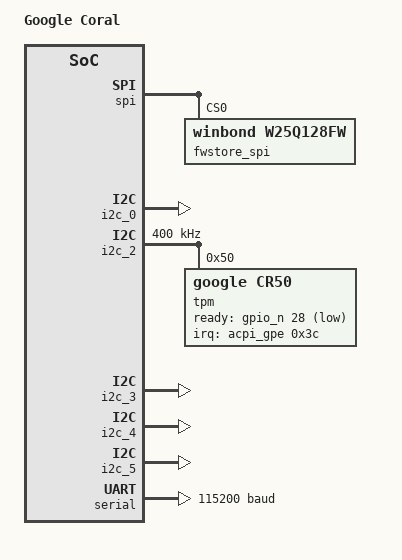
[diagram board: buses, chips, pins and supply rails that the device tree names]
/* SPDX-License-Identifier: GPL-2.0 */
/dts-v1/;

#include <dt-bindings/gpio/x86-gpio.h>

/include/ "skeleton.dtsi"
/include/ "keyboard.dtsi"
/include/ "reset.dtsi"
/include/ "rtc.dtsi"
/include/ "tsc_timer.dtsi"

#ifdef CONFIG_CHROMEOS
#include "chromeos-x86.dtsi"
#include "flashmap-x86-ro.dtsi"
#include "flashmap-16mb-rw.dtsi"
#endif

#include <asm/intel_pinctrl_defs.h>
#include <asm/arch-apollolake/cpu.h>
#include <asm/arch-apollolake/gpio.h>
#include <asm/arch-apollolake/iomap.h>
#include <asm/arch-apollolake/pm.h>
#include <dt-bindings/clock/intel-clock.h>

/ {
	model = "Google Coral";
	compatible = "google,coral", "intel,apollolake";

	aliases {
		cros-ec0 = &cros_ec;
		fsp = &fsp_s;
		spi0 = &spi;
		i2c0 = &i2c_0;
		i2c1 = &i2c_1;
		i2c2 = &i2c_2;
		i2c3 = &i2c_3;
		i2c4 = &i2c_4;
		i2c5 = &i2c_5;
		i2c6 = &i2c_6;
		i2c7 = &i2c_7;
	};

	config {
	       silent_console = <0>;
	};

	chosen {
		stdout-path = &serial;
	};

	clk: clock {
		compatible = "intel,apl-clk";
		#clock-cells = <1>;
	};

	cpus {
		u-boot,dm-pre-reloc;
		#address-cells = <1>;
		#size-cells = <0>;

		cpu@0 {
			u-boot,dm-pre-reloc;
			device_type = "cpu";
			compatible = "intel,apl-cpu";
			reg = <0>;
			intel,apic-id = <0>;
		};

		cpu@1 {
			device_type = "cpu";
			compatible = "intel,apl-cpu";
			reg = <1>;
			intel,apic-id = <2>;
		};

		cpu@2 {
			device_type = "cpu";
			compatible = "intel,apl-cpu";
			reg = <2>;
			intel,apic-id = <4>;
		};

		cpu@3 {
			device_type = "cpu";
			compatible = "intel,apl-cpu";
			reg = <3>;
			intel,apic-id = <6>;
		};

	};

	acpi_gpe: general-purpose-events {
		reg = <IOMAP_ACPI_BASE IOMAP_ACPI_SIZE>;
		compatible = "intel,acpi-gpe";
		interrupt-controller;
		#interrupt-cells = <2>;
	};

	keyboard {
		intel,duplicate-por;
	};

	pci {
		compatible = "pci-x86";
		#address-cells = <3>;
		#size-cells = <2>;
		u-boot,dm-pre-reloc;
		ranges = <0x02000000 0x0 0xc0000000 0xc0000000 0 0x10000000
			0x42000000 0x0 0xb0000000 0xb0000000 0 0x10000000
			0x01000000 0x0 0x1000 0x1000 0 0xefff>;
		u-boot,skip-auto-config-until-reloc;

		host_bridge: host-bridge@0,0 {
			u-boot,dm-pre-reloc;
			reg = <0x00000000 0 0 0 0>;
			compatible = "intel,apl-hostbridge";
			pciex-region-size = <0x10000000>;
			/*
			 * Parameters used by the FSP-S binary blob. This is
			 * really unfortunate since these parameters mostly
			 * relate to drivers but we need them in one place. We
			 * could put them in the driver nodes easily, but then
			 * would have to scan each node to find them. So just
			 * dump them here for now.
			 */
			fsp_s: fsp-s {
			};
		};

		punit@0,1 {
			u-boot,dm-pre-reloc;
			reg = <0x00000800 0 0 0 0>;
			compatible = "intel,apl-punit";
		};

		p2sb: p2sb@d,0 {
			u-boot,dm-pre-reloc;
			reg = <0x02006810 0 0 0 0>;
			compatible = "intel,p2sb";
			early-regs = <IOMAP_P2SB_BAR 0x100000>;

			n {
				compatible = "intel,apl-pinctrl";
				u-boot,dm-pre-reloc;
				intel,p2sb-port-id = <PID_GPIO_N>;
				gpio_n: gpio-n {
					compatible = "intel,gpio";
					u-boot,dm-pre-reloc;
					gpio-controller;
					#gpio-cells = <2>;
				};
			};

			nw {
				u-boot,dm-pre-reloc;
				compatible = "intel,apl-pinctrl";
				intel,p2sb-port-id = <PID_GPIO_NW>;
				#gpio-cells = <2>;
				gpio_nw: gpio-nw {
					compatible = "intel,gpio";
					u-boot,dm-pre-reloc;
					gpio-controller;
					#gpio-cells = <2>;
				};
			};

			w {
				u-boot,dm-pre-reloc;
				compatible = "intel,apl-pinctrl";
				intel,p2sb-port-id = <PID_GPIO_W>;
				#gpio-cells = <2>;
				gpio_w: gpio-w {
					compatible = "intel,gpio";
					u-boot,dm-pre-reloc;
					gpio-controller;
					#gpio-cells = <2>;
				};
			};

			sw {
				u-boot,dm-pre-reloc;
				compatible = "intel,apl-pinctrl";
				intel,p2sb-port-id = <PID_GPIO_SW>;
				#gpio-cells = <2>;
				gpio_sw: gpio-sw {
					compatible = "intel,gpio";
					u-boot,dm-pre-reloc;
					gpio-controller;
					#gpio-cells = <2>;
				};
			};

			itss {
				u-boot,dm-pre-reloc;
				compatible = "intel,itss";
				intel,p2sb-port-id = <PID_ITSS>;
				intel,pmc-routes = <
					PMC_GPE_SW_31_0 GPIO_GPE_SW_31_0
					PMC_GPE_SW_63_32 GPIO_GPE_SW_63_32
					PMC_GPE_NW_31_0 GPIO_GPE_NW_31_0
					PMC_GPE_NW_63_32 GPIO_GPE_NW_63_32
					PMC_GPE_NW_95_64 GPIO_GPE_NW_95_64
					PMC_GPE_N_31_0 GPIO_GPE_N_31_0
					PMC_GPE_N_63_32 GPIO_GPE_N_63_32
					PMC_GPE_W_31_0 GPIO_GPE_W_31_0>;
			};
		};

		pmc@d,1 {
			u-boot,dm-pre-reloc;
			reg = <0x6900 0 0 0 0>;

			/*
			 * Values for BAR0, BAR2 and ACPI_BASE for when PCI
			 * auto-configure is not available
			 */
			early-regs = <0xfe042000 0x2000
				0xfe044000 0x2000
				IOMAP_ACPI_BASE IOMAP_ACPI_SIZE>;
			compatible = "intel,apl-pmc";
			gpe0-dwx-mask = <0xf>;
			gpe0-dwx-shift-base = <4>;

			/*
			 * GPE configuration
			 * Note that GPE events called out in ASL code rely on
			 * this route, i.e., if this route changes then the
			 * affected GPE * offset bits also need to be changed.
			 * This sets the PMC register GPE_CFG fields.
			 */
			gpe0-dw = <PMC_GPE_N_31_0
				PMC_GPE_N_63_32
				PMC_GPE_SW_31_0>;
			gpe0-sts = <0x20>;
			gpe0-en = <0x30>;
		};

		spi: fast-spi@d,2 {
			u-boot,dm-pre-reloc;
			reg = <0x02006a10 0 0 0 0>;
			#address-cells = <1>;
			#size-cells = <0>;
			compatible = "intel,fast-spi";
			early-regs = <IOMAP_SPI_BASE 0x1000>;
			intel,hardware-seq = <1>;

			fwstore_spi: spi-flash@0 {
				#size-cells = <1>;
				#address-cells = <1>;
				u-boot,dm-pre-reloc;
				reg = <0>;
				compatible = "winbond,w25q128fw",
					 "jedec,spi-nor";
				rw-mrc-cache {
					label = "rw-mrc-cache";
					reg = <0x008e0000 0x00010000>;
					u-boot,dm-pre-reloc;
				};
				rw-var-mrc-cache {
					label = "rw-mrc-cache";
					reg = <0x008f0000 0x0001000>;
					u-boot,dm-pre-reloc;
				};
			};
		};

		i2c_0: i2c2@16,0 {
			compatible = "intel,apl-i2c";
			reg = <0x0200b010 0 0 0 0>;
			clocks = <&clk CLK_I2C>;
			i2c-scl-rising-time-ns = <104>;
			i2c-scl-falling-time-ns = <52>;
		};

		i2c_1: i2c2@16,1 {
			compatible = "intel,apl-i2c";
			reg = <0x0200b110 0 0 0 0>;
			clocks = <&clk CLK_I2C>;
			status = "disabled";
		};

		i2c_2: i2c2@16,2 {
			compatible = "intel,apl-i2c";
			reg = <0x0200b210 0 0 0 0>;
			#address-cells = <1>;
			#size-cells = <0>;
			clock-frequency = <400000>;
			clocks = <&clk CLK_I2C>;
			i2c-scl-rising-time-ns = <57>;
			i2c-scl-falling-time-ns = <28>;
			tpm@50 {
				reg = <0x50>;
				compatible = "google,cr50";
				u-boot,i2c-offset-len = <0>;
				ready-gpio = <&gpio_n 28 GPIO_ACTIVE_LOW>;
				interrupts-extended = <&acpi_gpe 0x3c 0>;
			};
		};

		i2c_3: i2c2@16,3 {
			compatible = "intel,apl-i2c";
			reg = <0x0200b110 0 0 0 0>;
			clocks = <&clk CLK_I2C>;
			i2c-scl-rising-time-ns = <76>;
			i2c-scl-falling-time-ns = <164>;
		};

		i2c_4: i2c2@17,0 {
			compatible = "intel,apl-i2c";
			reg = <0x0200b110 0 0 0 0>;
			clocks = <&clk CLK_I2C>;
			i2c-sda-hold-time-ns = <350>;
			i2c-scl-rising-time-ns = <114>;
			i2c-scl-falling-time-ns = <164>;
		};

		i2c_5: i2c2@17,1 {
			compatible = "intel,apl-i2c";
			reg = <0x0200b110 0 0 0 0>;
			clocks = <&clk CLK_I2C>;
			i2c-scl-rising-time-ns = <76>;
			i2c-scl-falling-time-ns = <164>;
		};

		i2c_6: i2c2@17,2 {
			compatible = "intel,apl-i2c";
			reg = <0x0200b110 0 0 0 0>;
			clocks = <&clk CLK_I2C>;
			status = "disabled";
		};

		i2c_7: i2c2@17,3 {
			compatible = "intel,apl-i2c";
			reg = <0x0200b110 0 0 0 0>;
			clocks = <&clk CLK_I2C>;
			status = "disabled";
		};

		serial: serial@18,2 {
			reg = <0x0200c210 0 0 0 0>;
			u-boot,dm-pre-reloc;
			compatible = "intel,apl-ns16550";
			early-regs = <0xde000000 0x20>;
			reg-shift = <2>;
			clock-frequency = <1843200>;
			current-speed = <115200>;
		};

		pch: pch@1f,0 {
			reg = <0x0000f800 0 0 0 0>;
			compatible = "intel,apl-pch";
			u-boot,dm-pre-reloc;
			#address-cells = <1>;
			#size-cells = <1>;

			lpc {
				compatible = "intel,apl-lpc";
				#address-cells = <1>;
				#size-cells = <0>;
				u-boot,dm-pre-reloc;
				cros_ec: cros-ec {
					u-boot,dm-pre-reloc;
					compatible = "google,cros-ec-lpc";
					reg = <0x204 1 0x200 1 0x880 0x80>;

					/*
					 * Describes the flash memory within
					 * the EC
					 */
					#address-cells = <1>;
					#size-cells = <1>;
					flash@8000000 {
						reg = <0x08000000 0x20000>;
						erase-value = <0xff>;
					};
				};
			};
		};
	};

};

&host_bridge {
	/*
	 * PL1 override 12000 mW: the energy calculation is wrong with the
	 * current VR solution. Experiments show that SoC TDP max (6W) can be
	 * reached when RAPL PL1 is set to 12W. Set RAPL PL2 to 15W.
	 */
	tdp-pl-override-mw = <12000 15000>;

	early-pads = <
		/* These two are for the debug UART */
		GPIO_46 /* UART2 RX */
			(PAD_CFG0_MODE_NF1 | PAD_CFG0_LOGICAL_RESET_DEEP)
			(PAD_CFG1_PULL_NATIVE | PAD_CFG1_IOSSTATE_TX_LAST_RXE)

		GPIO_47 /* UART2 TX */
			(PAD_CFG0_MODE_NF1 | PAD_CFG0_LOGICAL_RESET_DEEP)
			(PAD_CFG1_PULL_NATIVE | PAD_CFG1_IOSSTATE_TX_LAST_RXE)

		GPIO_75 /* I2S1_BCLK -- PCH_WP */
			(PAD_CFG0_MODE_GPIO | PAD_CFG0_LOGICAL_RESET_DEEP)
			(PAD_CFG1_PULL_UP_20K | PAD_CFG1_IOSSTATE_TXD_RXE)

		/* I2C2 - TPM  */
		GPIO_128 /* LPSS_I2C2_SDA */
			(PAD_CFG0_MODE_NF1 | PAD_CFG0_LOGICAL_RESET_DEEP)
			(PAD_CFG1_PULL_UP_2K | PAD_CFG1_IOSSTATE_TX_LAST_RXE)
		GPIO_129 /* LPSS_I2C2_SCL */
			(PAD_CFG0_MODE_NF1 | PAD_CFG0_LOGICAL_RESET_DEEP)
			(PAD_CFG1_PULL_UP_2K | PAD_CFG1_IOSSTATE_TX_LAST_RXE)
		GPIO_28 /* TPM IRQ */
			(PAD_CFG0_MODE_GPIO | PAD_CFG0_LOGICAL_RESET_DEEP |
				PAD_CFG0_TX_DISABLE | PAD_CFG0_ROUTE_IOAPIC |
				PAD_CFG0_TRIG_LEVEL | PAD_CFG0_RX_POL_INVERT)
			(PAD_CFG1_PULL_NONE | PAD_CFG1_IOSSTATE_TXD_RXE)

		/*
		 * WLAN_PE_RST - default to deasserted just in case FSP
		 * misbehaves
		 */
		GPIO_122  /* SIO_SPI_2_RXD */
			(PAD_CFG0_MODE_GPIO | PAD_CFG0_LOGICAL_RESET_DEEP |
				PAD_CFG0_RX_DISABLE | 0)
			(PAD_CFG1_PULL_NONE | PAD_CFG1_IOSSTATE_TX_LAST_RXE)

		/* LPC */
		PAD_CFG_NF(LPC_ILB_SERIRQ, UP_20K, DEEP, NF1) /* LPC_SERIRQ */
		PAD_CFG_NF(LPC_CLKOUT0, NONE, DEEP, NF1) /* LPC_CLKOUT0 */
		PAD_CFG_NF(LPC_CLKOUT1, UP_20K, DEEP, NF1)
		PAD_CFG_NF(LPC_AD0, UP_20K, DEEP, NF1)	 /* LPC_AD0 */
		PAD_CFG_NF(LPC_AD1, UP_20K, DEEP, NF1)	 /* LPC_AD1 */
		PAD_CFG_NF(LPC_AD2, UP_20K, DEEP, NF1)	 /* LPC_AD2 */
		PAD_CFG_NF(LPC_AD3, UP_20K, DEEP, NF1)	 /* LPC_AD3 */
		PAD_CFG_NF(LPC_CLKRUNB, UP_20K, DEEP, NF1) /* LPC_CLKRUN_N */
		PAD_CFG_NF(LPC_FRAMEB, NATIVE, DEEP, NF1) /* LPC_FRAME_N */
		>;

	lpddr4-swizzle = /bits/ 8 <
		/* LP4_PHYS_CH0A */

		/* DQA[0:7] pins of LPDDR4 module */
		6 7 5 4 3 1 0 2
		/* DQA[8:15] pins of LPDDR4 module */
		12 10 11 13 14 8 9 15
		/* DQB[0:7] pins of LPDDR4 module with offset of 16 */
		16 22 23 20 18 17 19 21
		/* DQB[7:15] pins of LPDDR4 module with offset of 16 */
		30 28 29 25 24 26 27 31

		/* LP4_PHYS_CH0B */
		/* DQA[0:7] pins of LPDDR4 module */
		7 3 5 2 6 0 1 4
		/* DQA[8:15] pins of LPDDR4 module */
		 9 14 12 13 10 11 8 15
		/* DQB[0:7] pins of LPDDR4 module with offset of 16 */
		20 22 23 16 19 17 18 21
		/* DQB[7:15] pins of LPDDR4 module with offset of 16 */
		28 24 26 27 29 30 31 25

		/* LP4_PHYS_CH1A */

		/* DQA[0:7] pins of LPDDR4 module */
		2 1 6 7 5 4 3 0
		/* DQA[8:15] pins of LPDDR4 module */
		11 10 8 9 12 15 13 14
		/* DQB[0:7] pins of LPDDR4 module with offset of 16 */
		17 23 19 16 21 22 20 18
		/* DQB[7:15] pins of LPDDR4 module with offset of 16 */
		31 29 26 25 28 27 24 30

		/* LP4_PHYS_CH1B */

		/* DQA[0:7] pins of LPDDR4 module */
		4 3 7 5 6 1 0 2
		/* DQA[8:15] pins of LPDDR4 module */
		15 9 8 11 14 13 12 10
		/* DQB[0:7] pins of LPDDR4 module with offset of 16 */
		20 23 22 21 18 19 16 17
		/* DQB[7:15] pins of LPDDR4 module with offset of 16 */
		25 28 30 31 26 27 24 29>;
};

&fsp_s {
	u-boot,dm-pre-proper;

	/* Disable unused clkreq of PCIe root ports */
	pcie-rp-clkreq-pin = /bits/ 8 <0 /* wifi/bt */
		CLKREQ_DISABLED
		CLKREQ_DISABLED
		CLKREQ_DISABLED
		CLKREQ_DISABLED
		CLKREQ_DISABLED>;

	/*
	 * GPIO for PERST_0
	 * If the Board has PERST_0 signal, assign the GPIO
	 * If the Board does not have PERST_0, assign GPIO_PRT0_UDEF
	 *
	 * This are not used yet, so comment them out for now.
	 *
	 * prt0-gpio = <GPIO_122>;
	 *
	 * GPIO for SD card detect
	 * sdcard-cd-gpio = <GPIO_177>;
	 */

	/*
	 * Order is emmc-tx-data-cntl1, emmc-tx-data-cntl2,
	 * emmc-rx-cmd-data-cntl1, emmc-rx-cmd-data-cntl2
	 *
	 * EMMC TX DATA Delay 1
	 * Refer to EDS-Vol2-22.3
	 * [14:8] steps of delay for HS400, each 125ps
	 * [6:0] steps of delay for SDR104/HS200, each 125ps

	/*
	 * EMMC TX DATA Delay 2
	 * Refer to EDS-Vol2-22.3.
	 * [30:24] steps of delay for SDR50, each 125ps
	 * [22:16] steps of delay for DDR50, each 125ps
	 * [14:8] steps of delay for SDR25/HS50, each 125ps
	 * [6:0] steps of delay for SDR12, each 125ps
	 */

	/*
	 * EMMC RX CMD/DATA Delay 1
	 * Refer to EDS-Vol2-22.3.
	 * [30:24] steps of delay for SDR50, each 125ps
	 * [22:16] steps of delay for DDR50, each 125ps
	 * [14:8] steps of delay for SDR25/HS50, each 125ps
	 * [6:0] steps of delay for SDR12, each 125ps
	 */

	/*
	 * EMMC RX CMD/DATA Delay 2
	 * Refer to EDS-Vol2-22.3.
	 * [17:16] stands for Rx Clock before Output Buffer
	 * [14:8] steps of delay for Auto Tuning Mode, each 125ps
	 * [6:0] steps of delay for HS200, each 125ps
	 */
	emmc = <0x0c16 0x28162828 0x00181717 0x10008>;

	/* Enable DPTF */
	dptf-enable;

	/* Enable Audio Clock and Power gating */
	hdaudio-clk-gate-enable;
	hdaudio-pwr-gate-enable;
	hdaudio-bios-config-lockdown;

	/* Enable lpss s0ix */
	lpss-s0ix-enable;

	/*
	 * TODO(sjg@chromium.org): Move this to the I2C nodes
	 * Intel Common SoC Config
	 *+-------------------+---------------------------+
	 *| Field             |  Value                    |
	 *+-------------------+---------------------------+
	 *| I2C0              | Audio                     |
	 *| I2C2              | TPM                       |
	 *| I2C3              | Touchscreen               |
	 *| I2C4              | Trackpad                  |
	 *| I2C5              | Digitizer                 |
	 *+-------------------+---------------------------+
	 *
	common_soc_config" = "{
		.i2c[0] = {
			.speed = I2C_SPEED_FAST,
			.rise-time-ns = 104,
			.fall-time-ns = 52,
		},
		.i2c[2] = {
			.early_init = 1,
			.speed = I2C_SPEED_FAST,
			.rise-time-ns = 57,
			.fall-time-ns = 28,
		},
		.i2c[3] = {
			.speed = I2C_SPEED_FAST,
			.rise-time-ns = 76,
			.fall-time-ns = 164,
		},
		.i2c[4] = {
			.speed = I2C_SPEED_FAST,
			.rise-time-ns = 114,
			.fall-time-ns = 164,
			.data_hold_time_ns = 350,
		},
		.i2c[5] = {
			.speed = I2C_SPEED_FAST,
			.rise-time-ns = 152,
			.fall-time-ns = 30,
		},
	}"
	*/

	/* Minimum SLP S3 assertion width 28ms */
	slp-s3-assertion-width-usecs = <28000>;

	pads = <
		/* PCIE_WAKE[0:3]_N */
		PAD_CFG_GPI_SCI_LOW(GPIO_205, UP_20K, DEEP, EDGE_SINGLE) /* WLAN */
		PAD_CFG_GPI(GPIO_206, UP_20K, DEEP)	 /* Unused */
		PAD_CFG_GPI(GPIO_207, UP_20K, DEEP)	 /* Unused */
		PAD_CFG_GPI(GPIO_208, UP_20K, DEEP)	 /* Unused */

		/* EMMC interface */
		PAD_CFG_NF(GPIO_156, DN_20K, DEEP, NF1) /* EMMC_CLK */
		PAD_CFG_NF_IOSSTATE_IOSTERM(GPIO_157, UP_20K, DEEP, NF1, HIZCRX1, DISPUPD) /* EMMC_D0 */
		PAD_CFG_NF_IOSSTATE_IOSTERM(GPIO_158, UP_20K, DEEP, NF1, HIZCRX1, DISPUPD) /* EMMC_D1 */
		PAD_CFG_NF_IOSSTATE_IOSTERM(GPIO_159, UP_20K, DEEP, NF1, HIZCRX1, DISPUPD) /* EMMC_D2 */
		PAD_CFG_NF_IOSSTATE_IOSTERM(GPIO_160, UP_20K, DEEP, NF1, HIZCRX1, DISPUPD) /* EMMC_D3 */
		PAD_CFG_NF_IOSSTATE_IOSTERM(GPIO_161, UP_20K, DEEP, NF1, HIZCRX1, DISPUPD) /* EMMC_D4 */
		PAD_CFG_NF_IOSSTATE_IOSTERM(GPIO_162, UP_20K, DEEP, NF1, HIZCRX1, DISPUPD) /* EMMC_D5 */
		PAD_CFG_NF_IOSSTATE_IOSTERM(GPIO_163, UP_20K, DEEP, NF1, HIZCRX1, DISPUPD) /* EMMC_D6 */
		PAD_CFG_NF_IOSSTATE_IOSTERM(GPIO_164, UP_20K, DEEP, NF1, HIZCRX1, DISPUPD) /* EMMC_D7 */
		PAD_CFG_NF_IOSSTATE_IOSTERM(GPIO_165, UP_20K, DEEP, NF1, HIZCRX1, DISPUPD) /* EMMC_CMD */
		PAD_CFG_NF(GPIO_182, DN_20K, DEEP, NF1) /* EMMC_RCLK */

		/* SDIO -- unused */
		PAD_CFG_GPI(GPIO_166, UP_20K, DEEP)	 /* SDIO_CLK */
		PAD_CFG_GPI(GPIO_167, UP_20K, DEEP)	 /* SDIO_D0 */
		/* Configure SDIO to enable power gating */
		PAD_CFG_NF(GPIO_168, UP_20K, DEEP, NF1)	/* SDIO_D1 */
		PAD_CFG_GPI(GPIO_169, UP_20K, DEEP)	 /* SDIO_D2 */
		PAD_CFG_GPI(GPIO_170, UP_20K, DEEP)	 /* SDIO_D3 */
		PAD_CFG_GPI(GPIO_171, UP_20K, DEEP)	 /* SDIO_CMD */

		/* SDCARD */
		/* Pull down clock by 20K */
		PAD_CFG_NF(GPIO_172, DN_20K, DEEP, NF1) /* SDCARD_CLK */
		PAD_CFG_NF(GPIO_173, UP_20K, DEEP, NF1) /* SDCARD_D0 */
		PAD_CFG_NF(GPIO_174, UP_20K, DEEP, NF1) /* SDCARD_D1 */
		PAD_CFG_NF(GPIO_175, UP_20K, DEEP, NF1) /* SDCARD_D2 */
		PAD_CFG_NF(GPIO_176, UP_20K, DEEP, NF1) /* SDCARD_D3 */
		/* Card detect is active LOW with external pull up */
		PAD_CFG_NF(GPIO_177, NONE, DEEP, NF1) /* SDCARD_CD_N */
		PAD_CFG_NF(GPIO_178, UP_20K, DEEP, NF1) /* SDCARD_CMD */
		/* CLK feedback, internal signal, needs 20K pull down */
		PAD_CFG_NF(GPIO_179, DN_20K, DEEP, NF1) /* SDCARD_CLK_FB */
		/* No h/w write proect for uSD cards, pull down by 20K */
		PAD_CFG_NF(GPIO_186, DN_20K, DEEP, NF1) /* SDCARD_LVL_WP */
		/* EN_SD_SOCKET_PWR_L for SD slot power control. Default on */
		PAD_CFG_GPO(GPIO_183, 0, DEEP)		 /* SDIO_PWR_DOWN_N */

		/* SMBus -- unused */
		PAD_CFG_GPI(SMB_ALERTB, UP_20K, DEEP)	 /* SMB_ALERT _N */
		PAD_CFG_GPI(SMB_CLK, UP_20K, DEEP)	 /* SMB_CLK */
		PAD_CFG_GPI(SMB_DATA, UP_20K, DEEP)	 /* SMB_DATA */

		/* LPC */
		PAD_CFG_NF(LPC_ILB_SERIRQ, UP_20K, DEEP, NF1) /* LPC_SERIRQ */
		PAD_CFG_NF(LPC_CLKOUT0, NONE, DEEP, NF1) /* LPC_CLKOUT0 */
		PAD_CFG_NF(LPC_CLKOUT1, UP_20K, DEEP, NF1)
		PAD_CFG_NF(LPC_AD0, UP_20K, DEEP, NF1)	 /* LPC_AD0 */
		PAD_CFG_NF(LPC_AD1, UP_20K, DEEP, NF1)	 /* LPC_AD1 */
		PAD_CFG_NF(LPC_AD2, UP_20K, DEEP, NF1)	 /* LPC_AD2 */
		PAD_CFG_NF(LPC_AD3, UP_20K, DEEP, NF1)	 /* LPC_AD3 */
		PAD_CFG_NF(LPC_CLKRUNB, UP_20K, DEEP, NF1) /* LPC_CLKRUN_N */
		PAD_CFG_NF(LPC_FRAMEB, NATIVE, DEEP, NF1) /* LPC_FRAME_N */

		/* I2C0 - Audio */
		PAD_CFG_NF(GPIO_124, UP_2K, DEEP, NF1) /* LPSS_I2C0_SDA */
		PAD_CFG_NF(GPIO_125, UP_2K, DEEP, NF1) /* LPSS_I2C0_SCL */

		/* I2C1 - NFC with external pulls */
		PAD_CFG_NF(GPIO_126, NONE, DEEP, NF1) /* LPSS_I2C1_SDA */
		PAD_CFG_NF(GPIO_127, NONE, DEEP, NF1) /* LPSS_I2C1_SCL */

		/* I2C2 - TPM  */
		PAD_CFG_NF(GPIO_128, UP_2K, DEEP, NF1) /* LPSS_I2C2_SDA */
		PAD_CFG_NF(GPIO_129, UP_2K, DEEP, NF1) /* LPSS_I2C2_SCL */

		/* I2C3 - touch */
		PAD_CFG_NF(GPIO_130, UP_2K, DEEP, NF1) /* LPSS_I2C3_SDA */
		PAD_CFG_NF(GPIO_131, UP_2K, DEEP, NF1) /* LPSS_I2C3_SCL */

		/* I2C4 - trackpad */
		/* LPSS_I2C4_SDA */
		PAD_CFG_NF_IOSSTATE(GPIO_132, UP_2K, DEEP, NF1, HIZCRX1)
		/* LPSS_I2C4_SCL */
		PAD_CFG_NF_IOSSTATE(GPIO_133, UP_2K, DEEP, NF1, HIZCRX1)

		/* I2C5 -- pen with external pulls  */
		PAD_CFG_NF(GPIO_134, NONE, DEEP, NF1) /* LPSS_I2C5_SDA */
		PAD_CFG_NF(GPIO_135, NONE, DEEP, NF1) /* LPSS_I2C5_SCL */

		/* I2C6-7 -- unused */
		PAD_CFG_GPI(GPIO_136, UP_20K, DEEP)	 /* LPSS_I2C6_SDA */
		PAD_CFG_GPI(GPIO_137, UP_20K, DEEP)	 /* LPSS_I2C6_SCL */
		PAD_CFG_GPI(GPIO_138, UP_20K, DEEP)	 /* LPSS_I2C7_SDA */
		PAD_CFG_GPI(GPIO_139, UP_20K, DEEP)	 /* LPSS_I2C7_SCL */

		/* Audio Amp - I2S6 */
		PAD_CFG_NF(GPIO_146, NATIVE, DEEP, NF2) /* ISH_GPIO_0 - I2S6_BCLK */
		PAD_CFG_NF(GPIO_147, NATIVE, DEEP, NF2) /* ISH_GPIO_1 - I2S6_WS_SYNC */
		PAD_CFG_GPI(GPIO_148, UP_20K, DEEP)	 /* ISH_GPIO_2 - unused */
		PAD_CFG_NF(GPIO_149, NATIVE, DEEP, NF2) /* ISH_GPIO_3 - I2S6_SDO */

		/* NFC Reset */
		PAD_CFG_GPO(GPIO_150, 1, DEEP)		 /* ISH_GPIO_4 */

		PAD_CFG_GPI(GPIO_151, UP_20K, DEEP)	 /* ISH_GPIO_5 - unused */

		/* Touch enable */
		PAD_CFG_GPO(GPIO_152, 1, DEEP)		 /* ISH_GPIO_6 */

		PAD_CFG_GPI(GPIO_153, UP_20K, DEEP)	 /* ISH_GPIO_7 - unused */
		PAD_CFG_GPI(GPIO_154, UP_20K, DEEP)	 /* ISH_GPIO_8 - unused */
		PAD_CFG_GPI(GPIO_155, UP_20K, DEEP)	 /* ISH_GPIO_9 - unused */

		/* PCIE_CLKREQ[0:3]_N */
		PAD_CFG_NF(GPIO_209, NONE, DEEP, NF1)	 /* WLAN with external pull */
		PAD_CFG_GPI(GPIO_210, UP_20K, DEEP)	 /* unused */
		PAD_CFG_GPI(GPIO_211, UP_20K, DEEP)	 /* unused */
		PAD_CFG_GPI(GPIO_212, UP_20K, DEEP)	 /* unused */

		/* OSC_CLK_OUT_[0:4] -- unused */
		PAD_CFG_GPI(OSC_CLK_OUT_0, UP_20K, DEEP)
		PAD_CFG_GPI(OSC_CLK_OUT_1, UP_20K, DEEP)
		PAD_CFG_GPI(OSC_CLK_OUT_2, UP_20K, DEEP)
		PAD_CFG_GPI(OSC_CLK_OUT_3, UP_20K, DEEP)
		PAD_CFG_GPI(OSC_CLK_OUT_4, UP_20K, DEEP)

		/* PMU Signals */
		PAD_CFG_GPI(PMU_AC_PRESENT, UP_20K, DEEP) /* PMU_AC_PRESENT - unused */
		PAD_CFG_NF(PMU_BATLOW_B, UP_20K, DEEP, NF1) /* PMU_BATLOW_N */
		PAD_CFG_NF(PMU_PLTRST_B, NONE, DEEP, NF1) /* PMU_PLTRST_N */
		PAD_CFG_NF(PMU_PWRBTN_B, UP_20K, DEEP, NF1) /* PMU_PWRBTN_N */
		PAD_CFG_NF(PMU_RESETBUTTON_B, NONE, DEEP, NF1) /* PMU_RSTBTN_N */
		PAD_CFG_NF_IOSSTATE(PMU_SLP_S0_B, NONE, DEEP, NF1, IGNORE) /* PMU_SLP_S0_N */
		PAD_CFG_NF(PMU_SLP_S3_B, NONE, DEEP, NF1) /* PMU_SLP_S3_N */
		PAD_CFG_NF(PMU_SLP_S4_B, NONE, DEEP, NF1) /* PMU_SLP_S4_N */
		PAD_CFG_NF(PMU_SUSCLK, NONE, DEEP, NF1) /* PMU_SUSCLK */
		PAD_CFG_GPO(PMU_WAKE_B, 1, DEEP)	 /* EN_PP3300_EMMC */
		PAD_CFG_NF(SUS_STAT_B, NONE, DEEP, NF1) /* SUS_STAT_N */
		PAD_CFG_NF(SUSPWRDNACK, NONE, DEEP, NF1) /* SUSPWRDNACK */

		/* DDI[0:1] SDA and SCL -- unused */
		PAD_CFG_GPI(GPIO_187, UP_20K, DEEP)	 /* HV_DDI0_DDC_SDA */
		PAD_CFG_GPI(GPIO_188, UP_20K, DEEP)	 /* HV_DDI0_DDC_SCL */
		PAD_CFG_GPI(GPIO_189, UP_20K, DEEP)	 /* HV_DDI1_DDC_SDA */
		PAD_CFG_GPI(GPIO_190, UP_20K, DEEP)	 /* HV_DDI1_DDC_SCL */

		/* MIPI I2C -- unused */
		PAD_CFG_GPI(GPIO_191, UP_20K, DEEP)	 /* MIPI_I2C_SDA */
		PAD_CFG_GPI(GPIO_192, UP_20K, DEEP)	 /* MIPI_I2C_SCL */

		/* Panel 0 control */
		PAD_CFG_NF(GPIO_193, NATIVE, DEEP, NF1) /* PNL0_VDDEN */
		PAD_CFG_NF(GPIO_194, NATIVE, DEEP, NF1) /* PNL0_BKLTEN */
		PAD_CFG_NF(GPIO_195, NATIVE, DEEP, NF1) /* PNL0_BKLTCTL */

		/* Panel 1 control -- unused */
		PAD_CFG_NF(GPIO_196, NATIVE, DEEP, NF1) /* PNL1_VDDEN */
		PAD_CFG_NF(GPIO_197, NATIVE, DEEP, NF1) /* PNL1_BKLTEN */
		PAD_CFG_NF(GPIO_198, NATIVE, DEEP, NF1) /* PNL1_BKLTCTL */

		/* Hot plug detect */
		PAD_CFG_NF(GPIO_199, UP_20K, DEEP, NF2) /* HV_DDI1_HPD */
		PAD_CFG_NF(GPIO_200, UP_20K, DEEP, NF2) /* HV_DDI0_HPD */

		/* MDSI signals -- unused */
		PAD_CFG_GPI(GPIO_201, UP_20K, DEEP)	 /* MDSI_A_TE */
		PAD_CFG_GPI(GPIO_202, UP_20K, DEEP)	 /* MDSI_A_TE */

		/* USB overcurrent pins */
		PAD_CFG_NF(GPIO_203, UP_20K, DEEP, NF1) /* USB_OC0_N */
		PAD_CFG_NF(GPIO_204, UP_20K, DEEP, NF1) /* USB_OC1_N */

		/* PMC SPI -- almost entirely unused */
		PAD_CFG_GPI(PMC_SPI_FS0, UP_20K, DEEP)
		PAD_CFG_NF(PMC_SPI_FS1, UP_20K, DEEP, NF2) /* HV_DDI2_HPD -- EDP HPD */
		PAD_CFG_GPI(PMC_SPI_FS2, UP_20K, DEEP)
		PAD_CFG_GPI(PMC_SPI_RXD, UP_20K, DEEP)
		PAD_CFG_GPI(PMC_SPI_TXD, UP_20K, DEEP)
		PAD_CFG_GPI(PMC_SPI_CLK, UP_20K, DEEP)

		/* PMIC Signals Unused signals related to an old PMIC interface */
		PAD_CFG_NF_IOSSTATE(PMIC_RESET_B, NATIVE, DEEP, NF1, IGNORE) /* PMIC_RESET_B */
		PAD_CFG_GPI(GPIO_213, NONE, DEEP)	 /* unused external pull */
		PAD_CFG_GPI(GPIO_214, UP_20K, DEEP)	 /* unused */
		PAD_CFG_GPI(GPIO_215, UP_20K, DEEP)	 /* unused */
		PAD_CFG_NF(PMIC_THERMTRIP_B, UP_20K, DEEP, NF1) /* THERMTRIP_N */
		PAD_CFG_GPI(PMIC_STDBY, UP_20K, DEEP)	 /* unused */
		PAD_CFG_NF(PROCHOT_B, UP_20K, DEEP, NF1) /* PROCHOT_N */
		PAD_CFG_NF(PMIC_I2C_SCL, UP_1K, DEEP, NF1) /* PMIC_I2C_SCL */
		PAD_CFG_NF(PMIC_I2C_SDA, UP_1K, DEEP, NF1) /* PMIC_I2C_SDA */

		/* I2S1 -- largely unused */
		PAD_CFG_GPI(GPIO_74, UP_20K, DEEP)	/* I2S1_MCLK */
		PAD_CFG_GPI(GPIO_75, UP_20K, DEEP)	/* I2S1_BCLK -- PCH_WP */
		PAD_CFG_GPO(GPIO_76, 0, DEEP)		/* I2S1_WS_SYNC -- SPK_PA_EN */
		PAD_CFG_GPI(GPIO_77, UP_20K, DEEP)	/* I2S1_SDI */
		PAD_CFG_GPO(GPIO_78, 1, DEEP)		/* I2S1_SDO -- EN_PP3300_DX_LTE_SOC */

		/* DMIC or I2S4 */
		/* AVS_DMIC_CLK_A1 */
		PAD_CFG_NF_IOSSTATE(GPIO_79, NATIVE, DEEP, NF1, IGNORE)
		PAD_CFG_NF(GPIO_80, NATIVE, DEEP, NF1) /* AVS_DMIC_CLK_B1 */
		PAD_CFG_NF(GPIO_81, NATIVE, DEEP, NF1)	/* AVS_DMIC_DATA_1 */
		PAD_CFG_GPI(GPIO_82, DN_20K, DEEP)	 /* unused -- strap */
		PAD_CFG_NF(GPIO_83, NATIVE, DEEP, NF1) /* AVS_DMIC_DATA_2 */

		/* I2S2 -- Headset amp */
		PAD_CFG_NF(GPIO_84, NATIVE, DEEP, NF1)	 /* AVS_I2S2_MCLK */
		PAD_CFG_NF(GPIO_85, NATIVE, DEEP, NF1)	 /* AVS_I2S2_BCLK */
		PAD_CFG_NF(GPIO_86, NATIVE, DEEP, NF1)	 /* AVS_I2S2_SW_SYNC */
		PAD_CFG_NF(GPIO_87, NATIVE, DEEP, NF1)	 /* AVS_I2S2_SDI */
		PAD_CFG_NF(GPIO_88, NATIVE, DEEP, NF1)	 /* AVS_I2S2_SDO */

		/* I2S3 -- largely unused */
		PAD_CFG_GPI(GPIO_89, UP_20K, DEEP)	 /* unused */
		PAD_CFG_GPI(GPIO_90, UP_20K, DEEP)	 /* GPS_HOST_WAKE */
		PAD_CFG_GPO(GPIO_91, 1, DEEP)		 /* GPS_EN */
		PAD_CFG_GPI(GPIO_92, DN_20K, DEEP)	 /* unused -- strap */

		/* Fast SPI */
		PAD_CFG_NF_IOSSTATE(GPIO_97, NATIVE, DEEP, NF1, IGNORE)	/* FST_SPI_CS0_B */
		PAD_CFG_GPI(GPIO_98, UP_20K, DEEP)				/* FST_SPI_CS1_B -- unused */
		PAD_CFG_NF_IOSSTATE(GPIO_99, NATIVE, DEEP, NF1, IGNORE)	/* FST_SPI_MOSI_IO0 */
		PAD_CFG_NF_IOSSTATE(GPIO_100, NATIVE, DEEP, NF1, IGNORE)	/* FST_SPI_MISO_IO1 */
		PAD_CFG_GPI(GPIO_101, NONE, DEEP)				/* FST_IO2 -- MEM_CONFIG0 */
		PAD_CFG_GPI(GPIO_102, NONE, DEEP)				/* FST_IO3 -- MEM_CONFIG1 */
		PAD_CFG_NF_IOSSTATE(GPIO_103, NATIVE, DEEP, NF1, IGNORE)	/* FST_SPI_CLK */
		PAD_CFG_NF_IOSSTATE(FST_SPI_CLK_FB, NATIVE, DEEP, NF1, IGNORE) /* FST_SPI_CLK_FB */
		PAD_CFG_NF_IOSSTATE(GPIO_106, NATIVE, DEEP, NF3, IGNORE)	/* FST_SPI_CS2_N */

		/* SIO_SPI_0 - Used for FP */
		PAD_CFG_NF(GPIO_104, NATIVE, DEEP, NF1)			/* SIO_SPI_0_CLK */
		PAD_CFG_NF(GPIO_105, NATIVE, DEEP, NF1)			/* SIO_SPI_0_FS0 */
		PAD_CFG_NF(GPIO_109, NATIVE, DEEP, NF1)			/* SIO_SPI_0_RXD */
		PAD_CFG_NF(GPIO_110, NATIVE, DEEP, NF1)			/* SIO_SPI_0_TXD */

		/* SIO_SPI_1 -- largely unused */
		PAD_CFG_GPI(GPIO_111, UP_20K, DEEP)	 /* SIO_SPI_1_CLK */
		PAD_CFG_GPI(GPIO_112, UP_20K, DEEP)	 /* SIO_SPI_1_FS0 */
		PAD_CFG_GPI(GPIO_113, UP_20K, DEEP)	 /* SIO_SPI_1_FS1 */
		/* Headset interrupt */
		PAD_CFG_GPI_APIC_LOW(GPIO_116, NONE, DEEP) /* SIO_SPI_1_RXD */
		PAD_CFG_GPI(GPIO_117, UP_20K, DEEP)	 /* SIO_SPI_1_TXD */

		/* SIO_SPI_2 -- unused */
		PAD_CFG_GPI(GPIO_118, UP_20K, DEEP)	 /* SIO_SPI_2_CLK */
		PAD_CFG_GPI(GPIO_119, UP_20K, DEEP)	 /* SIO_SPI_2_FS0 */
		PAD_CFG_GPI(GPIO_120, UP_20K, DEEP)	 /* SIO_SPI_2_FS1 */
		PAD_CFG_GPI(GPIO_121, UP_20K, DEEP)	 /* SIO_SPI_2_FS2 */
		/* WLAN_PE_RST - default to deasserted */
		PAD_CFG_GPO(GPIO_122, 0, DEEP)		 /* SIO_SPI_2_RXD */
		PAD_CFG_GPI(GPIO_123, UP_20K, DEEP)	 /* SIO_SPI_2_TXD */

		/* Debug tracing */
		PAD_CFG_GPI(GPIO_0, UP_20K, DEEP)
		PAD_CFG_GPI(GPIO_1, UP_20K, DEEP)
		PAD_CFG_GPI(GPIO_2, UP_20K, DEEP)
		PAD_CFG_GPI_SCI_HIGH(GPIO_3, DN_20K, DEEP, LEVEL)	 /* FP_INT */
		PAD_CFG_GPI(GPIO_4, UP_20K, DEEP)
		PAD_CFG_GPI(GPIO_5, UP_20K, DEEP)
		PAD_CFG_GPI(GPIO_6, UP_20K, DEEP)
		PAD_CFG_GPI(GPIO_7, UP_20K, DEEP)
		PAD_CFG_GPI(GPIO_8, UP_20K, DEEP)

		PAD_CFG_GPI_APIC_LOW(GPIO_9, NONE, DEEP) /* dTPM IRQ */
		PAD_CFG_GPI(GPIO_10, DN_20K, DEEP)	 /* Board phase enforcement */
		PAD_CFG_GPI_SCI_LOW(GPIO_11, NONE, DEEP, EDGE_SINGLE) /* EC SCI  */
		PAD_CFG_GPI(GPIO_12, UP_20K, DEEP)	 /* unused */
		PAD_CFG_GPI_APIC_LOW(GPIO_13, NONE, DEEP) /* PEN_INT_ODL */
		PAD_CFG_GPI_APIC_HIGH(GPIO_14, DN_20K, DEEP) /* FP_INT */
		PAD_CFG_GPI_SCI_LOW(GPIO_15, NONE, DEEP, EDGE_SINGLE)	 /* TRACKPAD_INT_1V8_ODL */
		PAD_CFG_GPI(GPIO_16, UP_20K, DEEP)	 /* unused */
		PAD_CFG_GPI(GPIO_17, UP_20K, DEEP)	 /* 1 vs 4 DMIC config */
		PAD_CFG_GPI_APIC_LOW(GPIO_18, NONE, DEEP) /* Trackpad IRQ */
		PAD_CFG_GPI(GPIO_19, UP_20K, DEEP)	 /* unused */
		PAD_CFG_GPI_APIC_LOW(GPIO_20, UP_20K, DEEP) /* NFC IRQ */
		PAD_CFG_GPI_APIC_LOW(GPIO_21, NONE, DEEP) /* Touch IRQ */
		PAD_CFG_GPI_SCI_LOW(GPIO_22, NONE, DEEP, EDGE_SINGLE) /* EC wake */
		PAD_CFG_GPI(GPIO_23, UP_20K, DEEP)	 /* unused */
		PAD_CFG_GPI(GPIO_24, NONE, DEEP)	 /* PEN_PDCT_ODL */
		PAD_CFG_GPI(GPIO_25, UP_20K, DEEP)	 /* unused */
		PAD_CFG_GPI(GPIO_26, UP_20K, DEEP)	 /* unused */
		PAD_CFG_GPI(GPIO_27, UP_20K, DEEP)	 /* unused */
		PAD_CFG_GPI_APIC_LOW(GPIO_28, NONE, DEEP) /* TPM IRQ */
		PAD_CFG_GPO(GPIO_29, 1, DEEP)		 /* FP reset */
		PAD_CFG_GPI_APIC_LOW(GPIO_30, NONE, DEEP) /* KB IRQ */
		PAD_CFG_GPO(GPIO_31, 0, DEEP)		 /* NFC FW DL */
		PAD_CFG_NF(GPIO_32, NONE, DEEP, NF5)	 /* SUS_CLK2 */
		PAD_CFG_GPI_APIC_LOW(GPIO_33, NONE, DEEP) /* PMIC IRQ */
		PAD_CFG_GPI(GPIO_34, UP_20K, DEEP)	 /* unused */
		PAD_CFG_GPO(GPIO_35, 0, DEEP)		 /* PEN_RESET - active high */
		PAD_CFG_GPO(GPIO_36, 0, DEEP)		 /* touch reset */
		PAD_CFG_GPI(GPIO_37, UP_20K, DEEP)	 /* unused */

		/* LPSS_UART[0:2] */
		PAD_CFG_GPI(GPIO_38, NONE, DEEP)	 /* LPSS_UART0_RXD - MEM_CONFIG2*/
		/* Next 2 are straps */
		PAD_CFG_GPI(GPIO_39, DN_20K, DEEP)	 /* LPSS_UART0_TXD - unused */
		PAD_CFG_GPI(GPIO_40, DN_20K, DEEP)	 /* LPSS_UART0_RTS - unused */
		PAD_CFG_GPI(GPIO_41, NONE, DEEP)	 /* LPSS_UART0_CTS - EC_IN_RW */
		PAD_CFG_NF(GPIO_42, NATIVE, DEEP, NF1)	 /* LPSS_UART1_RXD */
		PAD_CFG_NF(GPIO_43, NATIVE, DEEP, NF1)	 /* LPSS_UART1_TXD */
		PAD_CFG_GPO(GPIO_44, 1, DEEP)	 /* GPS_RST_ODL */
		PAD_CFG_GPI(GPIO_45, NONE, DEEP)	 /* LPSS_UART1_CTS - MEM_CONFIG3 */
		PAD_CFG_NF(GPIO_46, NATIVE, DEEP, NF1)	 /* LPSS_UART2_RXD */
		PAD_CFG_NF_IOSSTATE(GPIO_47, NATIVE, DEEP, NF1, TX1_RX_DCR_X0) /* UART2 TX */
		PAD_CFG_GPI(GPIO_48, UP_20K, DEEP)	 /* LPSS_UART2_RTS - unused */
		PAD_CFG_GPI_SMI_LOW(GPIO_49, NONE, DEEP, EDGE_SINGLE) /* LPSS_UART2_CTS - EC_SMI_L */

		/* Camera interface -- completely unused */
		PAD_CFG_GPI(GPIO_62, UP_20K, DEEP)	 /* GP_CAMERASB00 */
		PAD_CFG_GPI(GPIO_63, UP_20K, DEEP)	 /* GP_CAMERASB01 */
		PAD_CFG_GPI(GPIO_64, UP_20K, DEEP)	 /* GP_CAMERASB02 */
		PAD_CFG_GPI(GPIO_65, UP_20K, DEEP)	 /* GP_CAMERASB03 */
		PAD_CFG_GPI(GPIO_66, UP_20K, DEEP)	 /* GP_CAMERASB04 */
		PAD_CFG_GPI(GPIO_67, UP_20K, DEEP)	 /* GP_CAMERASB05 */
		PAD_CFG_GPI(GPIO_68, UP_20K, DEEP)	 /* GP_CAMERASB06 */
		PAD_CFG_GPI(GPIO_69, UP_20K, DEEP)	 /* GP_CAMERASB07 */
		PAD_CFG_GPI(GPIO_70, UP_20K, DEEP)	 /* GP_CAMERASB08 */
		PAD_CFG_GPI(GPIO_71, UP_20K, DEEP)	 /* GP_CAMERASB09 */
		PAD_CFG_GPI(GPIO_72, UP_20K, DEEP)	 /* GP_CAMERASB10 */
		PAD_CFG_GPI(GPIO_73, UP_20K, DEEP)	 /* GP_CAMERASB11 */
	>;
};
